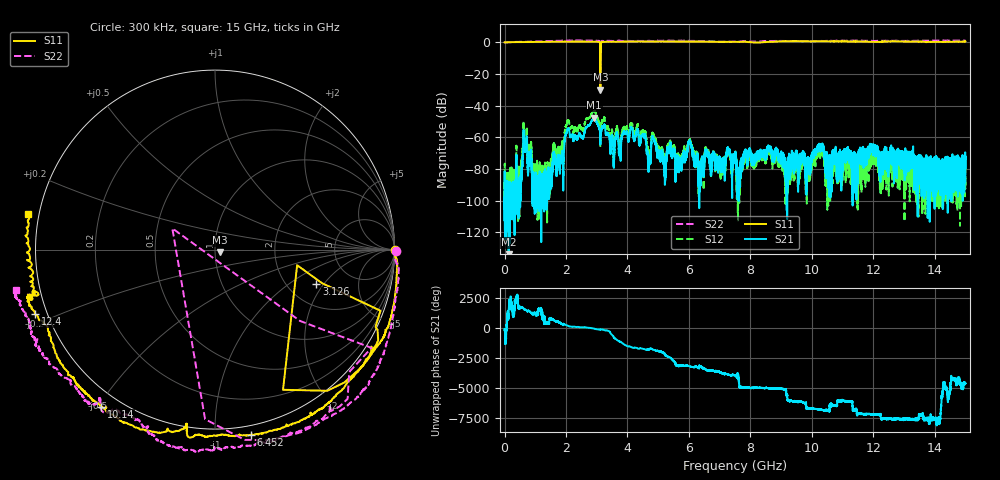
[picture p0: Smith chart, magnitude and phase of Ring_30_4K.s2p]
!Agilent Technologies,N5230C,SG49000117,A.08.50.07
!Agilent N5230C: A.08.50.07
!Date: Wednesday, May 08, 2024 00:07:49
!Correction: S11(Full 2 Port(1,2))
!S21(Full 2 Port(1,2))
!S12(Full 2 Port(1,2))
!S22(Full 2 Port(1,2))
!S2P File: Measurements: S11, S21, S12, S22:
# Hz S  MA  R 50
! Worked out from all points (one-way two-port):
!   20001 points, 300 kHz to 15 GHz, reference 50 ohm
!   highest |S21| = -47.60 dB at 2.918 GHz (marker M1); lowest = -139.5 dB at 130.8 MHz (marker M2)
!   lowest |S11| = -29.9 dB at 3.118 GHz (marker M3), VSWR 1.07, Z = 52.9 - j1.58 ohm
!   |S11| at or under -10 dB: 3.116847 GHz to 3.119062 GHz (2.215 MHz wide, 0.071 % of centre)
!   |S22| runs from -17.2 to 1.2 dB; largest |S21 - S12| = 0.0038
!   S11 on the Smith chart (normalised r, x): 300 kHz: open; 3.126 GHz: 2.84, -1.70; 6.452 GHz: -0.06, -1.21; 10.14 GHz: -0.05, -0.51; 12.4 GHz: -0.03, -0.17; 15 GHz: -0.03, +0.10
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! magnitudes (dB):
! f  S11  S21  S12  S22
! 300 kHz  0.0  -98.2  -88.2  0.1
! 130.8 MHz  0.0  -139.5  -91.7  0.1
! 481 MHz  0.2  -100.4  -82.6  0.3
! 663.3 MHz  0.2  -68.7  -63.1  0.4
! 961 MHz  0.3  -91.0  -84.9  0.5
! 1.399 GHz  0.4  -89.7  -88.6  0.8
! 1.855 GHz  0.5  -71.4  -66.1  1.0
! 2.04 GHz  0.5  -55.9  -50.4  1.1
! 2.501 GHz  0.5  -60.0  -55.0  1.2
! 2.918 GHz  0.4  -47.6  -43.3  1.0
! 3.118 GHz  -29.9  -64.6  -66.4  -3.2
! 3.126 GHz  -4.5  -58.1  -55.1  -4.0
! 5 GHz  0.6  -68.3  -66.8  1.0
! 5.73 GHz  0.5  -76.7  -73.9  1.0
! 6.035 GHz  0.5  -62.9  -61.5  0.9
! 6.452 GHz  0.4  -77.5  -75.5  0.7
! 7.5 GHz  0.3  -70.7  -71.4  0.5
! 10 GHz  0.6  -71.3  -76.2  0.7
! 10.14 GHz  0.7  -69.0  -71.7  0.8
! 12.4 GHz  0.5  -67.5  -71.2  1.0
! 12.5 GHz  0.6  -74.7  -76.2  1.0
! 15 GHz  0.6  -72.4  -84.5  1.1
